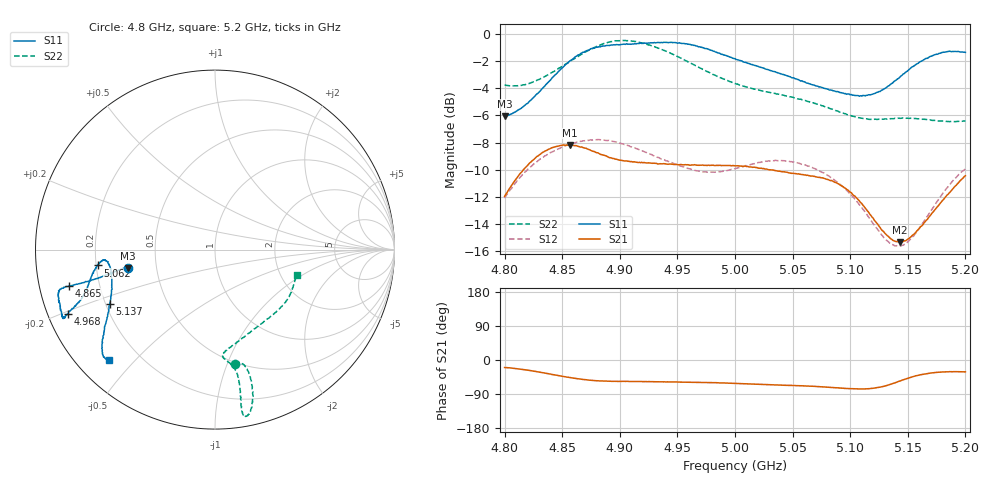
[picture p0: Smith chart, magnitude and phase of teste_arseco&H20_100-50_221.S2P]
! Network Analyzer HP8722D
! Hewlett-Packard
! Data name: Linha & Wilkinson
! Saver's name: Rodrigo Anjos
! Comments: Teste da utilização de aquisição
! continua pelo VNA HP8722D
! Time and date: 6/5/2025 14:24
!  Frequency  S11  S21  S12  S22
# HZ  S  MA R 50
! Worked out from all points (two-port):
!   401 points, 4.8 GHz to 5.2 GHz, reference 50 ohm
!   highest |S21| = -8.17 dB at 4.857 GHz (marker M1); lowest = -15.3 dB at 5.143 GHz (marker M2)
!   |S21| within 3 dB of the highest: 4.806 GHz to 5.092 GHz (286.3 MHz wide, 5.78 % of centre); 5.191607 GHz to end of sweep
!   lowest |S11| = -6.1 dB at 4.8 GHz (marker M3), VSWR 2.97, Z = 17 - j4.58 ohm
!   |S11| at or under -10 dB: nowhere
!   |S22| runs from -6.5 to -0.5 dB; largest |S21 - S12| = 0.62
!   S11 on the Smith chart (normalised r, x): 4.8 GHz: 0.34, -0.09; 4.865 GHz: 0.09, -0.12; 4.968 GHz: 0.06, -0.21; 5.062 GHz: 0.21, -0.06; 5.137 GHz: 0.22, -0.23; 5.2 GHz: 0.09, -0.42
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4.8e9  0.4968 -168.2  0.2527 -19.8  0.2489 -141.0  0.6485 -80.3
4.83e9  0.6112 -166.9  0.3586 -31.8  0.3438 -145.4  0.6795 -75.2
4.857e9  0.7959 -166.0  0.3906 -46.4  0.3924 -150.4  0.7937 -74.8
4.865e9  0.8383 -166.1  0.3848 -50.1  0.401 -151.8  0.8325 -75.4
4.867e9  0.8503 -166.0  0.3838 -50.9  0.4024 -152.1  0.8426 -75.4
4.881e9  0.8936 -165.5  0.3652 -54.8  0.4085 -154.5  0.9041 -77.0
4.901e9  0.9135 -162.5  0.3429 -56.4  0.3954 -156.8  0.9441 -79.4
4.934e9  0.929 -156.4  0.3324 -57.6  0.3507 -155.8  0.8827 -80.5
4.968e9  0.8968 -156.3  0.3286 -59.1  0.3134 -147.6  0.7552 -79.7
5e9  0.8094 -159.1  0.327 -61.8  0.3196 -137.3  0.6565 -81.3
5.036e9  0.7213 -165.7  0.3136 -66.0  0.3423 -134.6  0.6007 -85.7
5.062e9  0.6591 -172.3  0.3018 -68.6  0.3282 -136.4  0.5663 -83.7
5.067e9  0.6498 -173.1  0.3003 -69.3  0.3226 -136.9  0.5576 -82.6
5.082e9  0.6211 -174.7  0.2895 -72.1  0.2992 -138.3  0.532 -77.1
5.098e9  0.6017 -173.0  0.2664 -75.3  0.2634 -139.0  0.5031 -68.6
5.115e9  0.5942 -166.1  0.2232 -76.0  0.2149 -135.9  0.4859 -56.5
5.134e9  0.6453 -154.4  0.1785 -65.2  0.1705 -120.6  0.4867 -43.3
5.137e9  0.6603 -152.5  0.1741 -62.2  0.1679 -116.8  0.4881 -41.5
5.143e9  0.6928 -149.3  0.1713 -55.6  0.1661 -108.9  0.489 -37.9
5.154e9  0.7562 -144.5  0.1817 -44.4  0.1792 -95.2  0.4893 -32.3
5.172e9  0.8329 -139.0  0.2215 -33.6  0.2298 -81.2  0.4807 -24.6
5.2e9  0.8544 -133.8  0.3007 -31.4  0.319 -77.0  0.4778 -17.6
